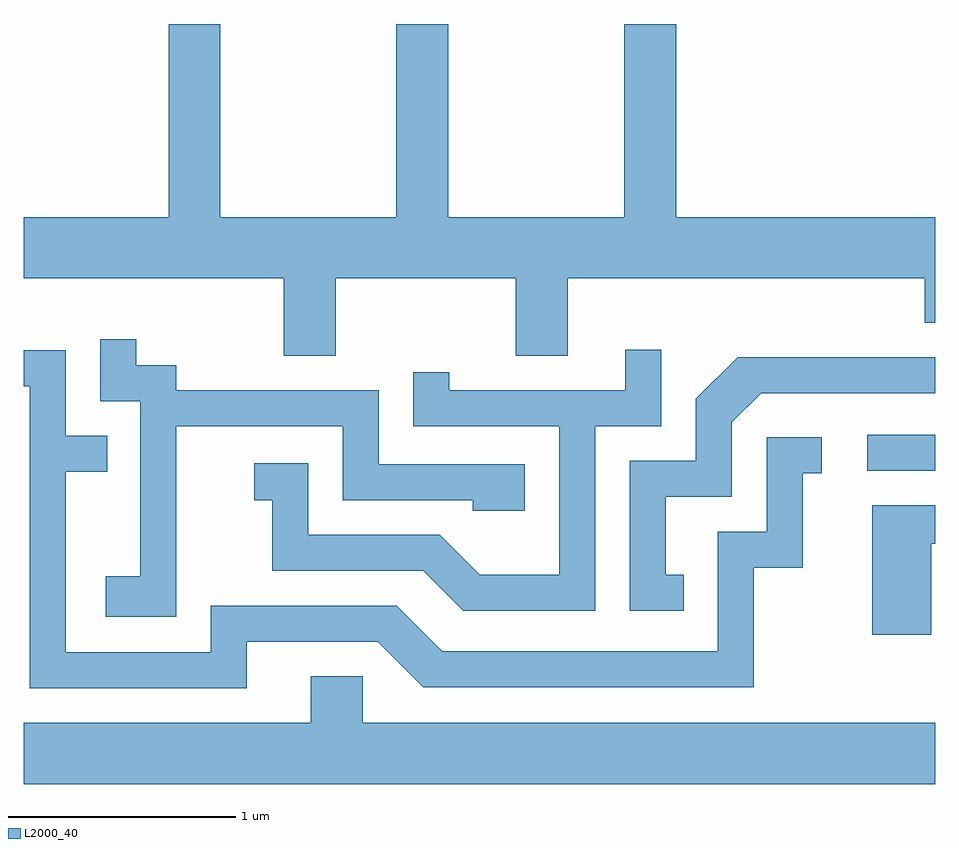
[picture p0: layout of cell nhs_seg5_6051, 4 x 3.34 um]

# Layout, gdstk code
import gdstk
lib = gdstk.Library(unit=1e-6, precision=1e-09)
def R(c, l, rs):  # rectangles x0, y0, x1, y1
    for r in rs: c.add(gdstk.rectangle(r[:2], r[2:], *l))
def P(c, l, *ps):  # polygons
    for p in ps: c.add(gdstk.Polygon(p, *l))
L2000_40 = (2000, 40)

nhs_seg5_6051 = lib.new_cell('nhs_seg5_6051')
R(nhs_seg5_6051, L2000_40, [(367.313,1518.111,367.611,1518.269)])
P(nhs_seg5_6051, L2000_40, [(364.979,1518.956),(365.771,1518.956),(365.771,1518.616),(365.999,1518.616),(365.999,1518.956),(367.566,1518.956),(367.566,1518.761),(367.611,1518.761),(367.611,1519.224),(366.474,1519.224),(366.474,1520.072),(366.246,1520.072),(366.246,1519.224),(365.474,1519.224),(365.474,1520.072),(365.246,1520.072),(365.246,1519.224),(364.474,1519.224),(364.474,1520.072),(364.246,1520.072),(364.246,1519.224),(363.611,1519.224),(363.611,1518.956),(364.751,1518.956),(364.751,1518.616),(364.979,1518.616)],
  [(364.279,1518.306),(365.011,1518.306),(365.011,1517.981),(365.581,1517.981),(365.581,1517.936),(365.809,1517.936),(365.809,1518.139),(365.169,1518.139),(365.169,1518.464),(364.279,1518.464),(364.279,1518.574),(364.104,1518.574),(364.104,1518.688),(363.946,1518.688),(363.946,1518.416),(364.121,1518.416),(364.121,1517.649),(363.971,1517.649),(363.971,1517.471),(364.279,1517.471)],
  [(366.119,1518.306),(366.409,1518.306),(366.409,1518.643),(366.251,1518.643),(366.251,1518.464),(365.479,1518.464),(365.479,1518.543),(365.321,1518.543),(365.321,1518.306),(365.961,1518.306),(365.961,1517.654),(365.612,1517.654),(365.437,1517.829),(364.859,1517.829),(364.859,1518.144),(364.623,1518.144),(364.623,1517.981),(364.701,1517.981),(364.701,1517.671),(365.364,1517.671),(365.539,1517.496),(366.119,1517.496)],
  [(364.589,1517.361),(365.164,1517.361),(365.364,1517.161),(366.814,1517.161),(366.814,1517.686),(367.029,1517.686),(367.029,1518.101),(367.113,1518.101),(367.113,1518.259),(366.871,1518.259),(366.871,1517.844),(366.656,1517.844),(366.656,1517.319),(365.447,1517.319),(365.247,1517.519),(364.431,1517.519),(364.431,1517.314),(363.794,1517.314),(363.794,1518.106),(363.978,1518.106),(363.978,1518.264),(363.794,1518.264),(363.794,1518.639),(363.611,1518.639),(363.611,1518.481),(363.636,1518.481),(363.636,1517.156),(364.589,1517.156)],
  [(366.508,1517.654),(366.429,1517.654),(366.429,1517.996),(366.719,1517.996),(366.719,1518.324),(366.847,1518.451),(367.611,1518.451),(367.611,1518.609),(366.744,1518.609),(366.561,1518.427),(366.561,1518.154),(366.271,1518.154),(366.271,1517.496),(366.508,1517.496)],
  [(367.594,1517.791),(367.611,1517.791),(367.611,1517.959),(367.336,1517.959),(367.336,1517.391),(367.594,1517.391)],
  [(367.611,1517.004),(365.099,1517.004),(365.099,1517.209),(364.871,1517.209),(364.871,1517.004),(363.611,1517.004),(363.611,1516.736),(367.611,1516.736)])

lib.write_gds('nhs_seg5_6051.gds')
